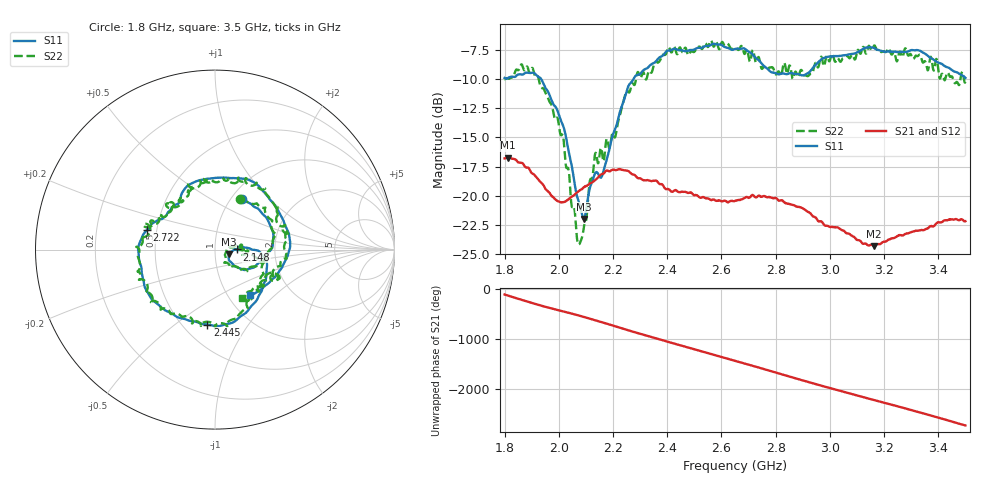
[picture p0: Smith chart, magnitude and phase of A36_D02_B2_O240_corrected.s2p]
! Created with skrf 1.9.0 (http://scikit-rf.org).
# Hz S RI R 50.0
!freq ReS11 ImS11 ReS21 ImS21 ReS12 ImS12 ReS22 ImS22
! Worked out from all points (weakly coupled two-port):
!   1601 points, 1.8 GHz to 3.5 GHz, reference 50 ohm
!   highest |S21| = -16.73 dB at 1.812 GHz (marker M1); lowest = -24.3 dB at 3.163 GHz (marker M2)
!   lowest |S11| = -22.0 dB at 2.092 GHz (marker M3), VSWR 1.17, Z = 58.1 - j2.92 ohm
!   |S11| at or under -10 dB: 1.935 GHz to 2.275 GHz (340.3 MHz wide, 16.2 % of centre)
!   |S22| runs from -24.2 to -6.7 dB; largest |S21 - S12| = 0.0025
!   S11 on the Smith chart (normalised r, x): 1.8 GHz: 1.12, +0.70; 2.148 GHz: 1.28, +0.00; 2.445 GHz: 0.65, -0.66; 2.722 GHz: 0.44, +0.12; 3.5 GHz: 1.26, -0.71
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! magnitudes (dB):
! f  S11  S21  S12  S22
! 1.8 GHz  -9.9  -16.8  -16.8  -10.0
! 1.812 GHz  -9.9  -16.7  -16.7  -9.9
! 1.902 GHz  -9.5  -18.1  -18.0  -9.0
! 1.967 GHz  -11.4  -19.8  -19.9  -12.0
! 2.02 GHz  -14.3  -20.5  -20.5  -15.8
! 2.07 GHz  -20.2  -19.7  -19.7  -24.1
! 2.084 GHz  -21.4  -19.5  -19.4  -23.7
! 2.092 GHz  -22.0  -19.3  -19.3  -22.7
! 2.13 GHz  -18.3  -18.7  -18.7  -17.0
! 2.148 GHz  -18.3  -18.3  -18.3  -16.8
! 2.209 GHz  -14.2  -17.8  -17.7  -14.9
! 2.258 GHz  -10.5  -17.9  -17.9  -11.1
! 2.367 GHz  -8.2  -18.9  -18.8  -8.6
! 2.445 GHz  -7.5  -19.7  -19.7  -7.3
! 2.65 GHz  -7.4  -20.4  -20.4  -7.3
! 2.722 GHz  -8.1  -20.1  -20.0  -8.1
! 2.807 GHz  -9.6  -20.3  -20.3  -9.4
! 2.934 GHz  -9.2  -21.7  -21.6  -9.5
! 3.163 GHz  -7.3  -24.3  -24.3  -7.1
! 3.217 GHz  -7.6  -23.7  -23.7  -7.4
! 3.33 GHz  -7.6  -23.0  -23.0  -7.9
! 3.5 GHz  -9.9  -22.2  -22.2  -10.2
